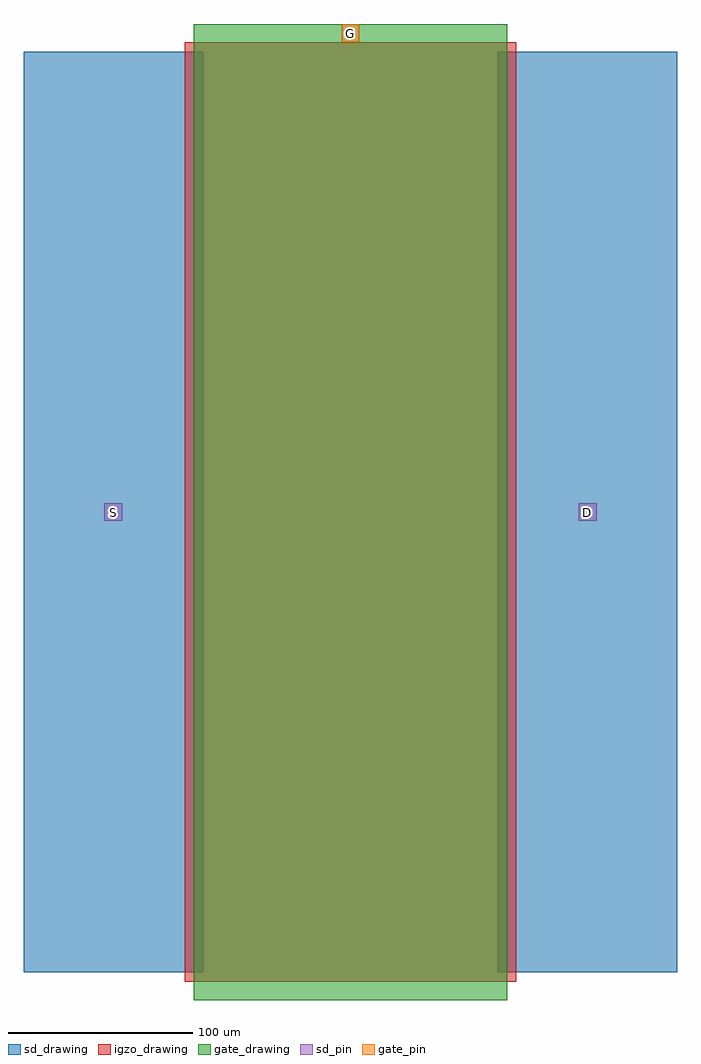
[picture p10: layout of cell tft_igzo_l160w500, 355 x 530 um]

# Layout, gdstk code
import gdstk
lib = gdstk.Library(unit=1e-6, precision=1e-09)
def R(c, l, rs):  # rectangles x0, y0, x1, y1
    for r in rs: c.add(gdstk.rectangle(r[:2], r[2:], *l))
gate_drawing = (2, 0)
gate_pin = (2, 10)
igzo_drawing = (4, 0)
sd_drawing = (6, 0)
sd_pin = (6, 10)

tft_igzo_l160w500 = lib.new_cell('tft_igzo_l160w500')
R(tft_igzo_l160w500, gate_drawing, [(-85,-265,85,265)])
R(tft_igzo_l160w500, gate_pin, [(-4.88,255.12,4.88,264.88)])
R(tft_igzo_l160w500, igzo_drawing, [(-90,-255,90,255)])
R(tft_igzo_l160w500, sd_drawing, [(-177.5,-250,-80,250), (80,-250,177.5,250)])
R(tft_igzo_l160w500, sd_pin, [(-133.63,-4.88,-123.87,4.88), (123.87,-4.88,133.63,4.88)])
tft_igzo_l160w500.add(gdstk.Label('S', (-128.75,0), layer=6, texttype=10))
tft_igzo_l160w500.add(gdstk.Label('D', (128.75,0), layer=6, texttype=10))
tft_igzo_l160w500.add(gdstk.Label('G', (0,260), layer=2, texttype=10))

lib.write_gds('tft_igzo_l160w500.gds')
